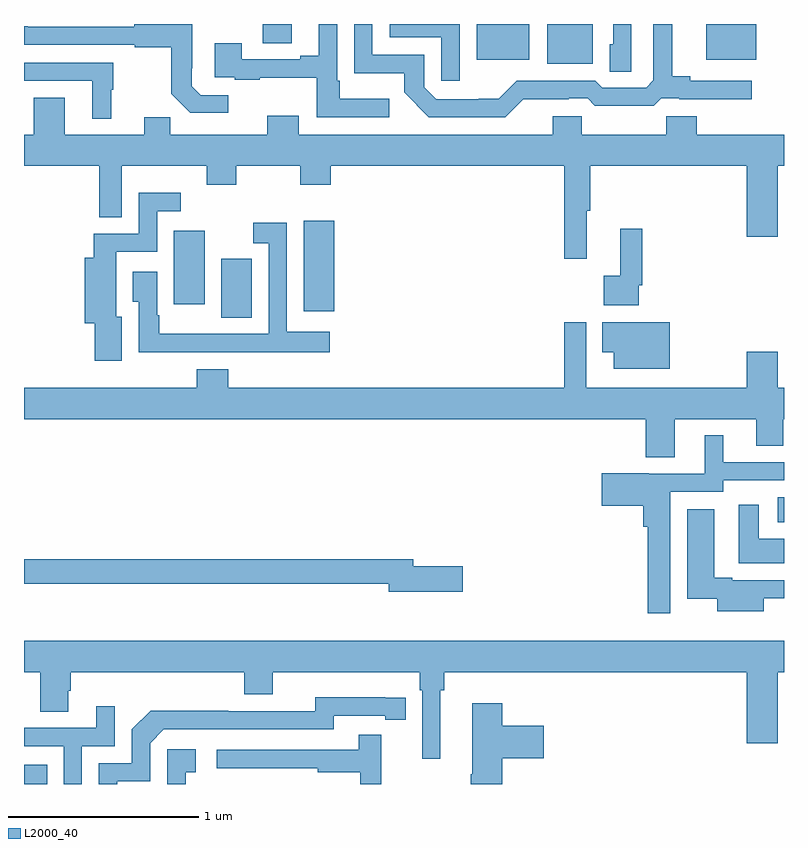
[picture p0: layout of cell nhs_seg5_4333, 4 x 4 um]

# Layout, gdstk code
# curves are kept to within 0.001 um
import gdstk
lib = gdstk.Library(unit=1e-6, precision=1e-09)
def R(c, l, rs):  # rectangles x0, y0, x1, y1
    for r in rs: c.add(gdstk.rectangle(r[:2], r[2:], *l))
def P(c, l, *ps):  # polygons
    for p in ps: c.add(gdstk.Polygon(p, *l))
L2000_40 = (2000, 40)

nhs_seg5_4333 = lib.new_cell('nhs_seg5_4333')
R(nhs_seg5_4333, L2000_40, [(365,894.799,365.123,894.9), (368.967,896.177,369,896.308), (366.038,897.253,366.199,897.564), (366.473,897.288,366.634,897.763), (365.789,897.323,365.95,897.712), (367.754,898.589,367.993,898.799), (367.382,898.61,367.66,898.799), (368.591,898.61,368.854,898.799), (366.257,898.699,366.409,898.799)])
P(nhs_seg5_4333, L2000_40, [(366.076,898.425),(365.931,898.425),(365.884,898.472),(365.884,898.567),(365.886,898.567),(365.886,898.799),(365.579,898.799),(365.579,898.785),(365,898.786),(365,898.689),(365.583,898.689),(365.583,898.677),(365.775,898.677),(365.775,898.431),(365.875,898.331),(366.076,898.331)],
  [(368.196,898.799),(368.1,898.799),(368.1,898.692),(368.084,898.692),(368.084,898.549),(368.196,898.549)],
  [(367.293,898.799),(366.924,898.799),(366.924,898.728),(367.197,898.728),(367.197,898.5),(367.293,898.5)],
  [(367.628,898.403),(367.868,898.403),(367.868,898.407),(367.968,898.407),(368.008,898.368),(368.315,898.368),(368.355,898.407),(368.449,898.407),(368.449,898.403),(368.83,898.403),(368.83,898.5),(368.506,898.5),(368.506,898.523),(368.411,898.523),(368.411,898.799),(368.313,898.799),(368.313,898.503),(368.274,898.464),(368.043,898.464),(368.007,898.5),(367.593,898.5),(367.499,898.406),(367.394,898.406),(367.394,898.404),(367.17,898.404),(367.107,898.467),(367.107,898.638),(366.834,898.638),(366.834,898.799),(366.738,898.799),(366.738,898.541),(367,898.541),(367,898.439),(367.13,898.308),(367.533,898.308)],
  [(366.922,898.405),(366.661,898.405),(366.661,898.501),(366.648,898.501),(366.648,898.799),(366.551,898.799),(366.551,898.633),(366.455,898.633),(366.455,898.614),(366.145,898.614),(366.145,898.699),(366.005,898.699),(366.005,898.518),(366.109,898.518),(366.109,898.506),(366.241,898.506),(366.241,898.517),(366.54,898.517),(366.54,898.308),(366.922,898.308)],
  [(365.458,898.452),(365.47,898.452),(365.47,898.596),(365,898.596),(365,898.5),(365.36,898.5),(365.36,898.301),(365.458,898.301)],
  [(365.633,898.307),(365.633,898.216),(365.215,898.216),(365.215,898.411),(365.051,898.411),(365.051,898.216),(365,898.216),(365,898.052),(365.397,898.052),(365.397,897.781),(365.515,897.781),(365.515,898.052),(365.962,898.052),(365.962,897.953),(366.117,897.953),(366.117,898.052),(366.454,898.052),(366.454,897.953),(366.614,897.953),(366.614,898.052),(367.843,898.052),(367.843,897.564),(367.961,897.564),(367.961,897.816),(367.979,897.816),(367.979,898.052),(368.804,898.052),(368.804,897.678),(368.968,897.678),(368.968,898.052),(369,898.052),(369,898.216),(368.54,898.216),(368.54,898.314),(368.38,898.314),(368.38,898.216),(367.935,898.216),(367.935,898.314),(367.784,898.314),(367.784,898.216),(366.445,898.216),(366.445,898.315),(366.281,898.315),(366.281,898.216),(365.771,898.216),(365.771,898.307)],
  [(365.515,897.259),(365.485,897.259),(365.485,897.6),(365.7,897.6),(365.7,897.813),(365.824,897.813),(365.824,897.91),(365.604,897.91),(365.604,897.696),(365.367,897.696),(365.367,897.568),(365.32,897.568),(365.32,897.224),(365.372,897.224),(365.372,897.027),(365.515,897.027)],
  [(365.825,897.072),(366.191,897.072),(366.191,897.071),(366.61,897.071),(366.61,897.178),(366.384,897.178),(366.384,897.754),(366.207,897.754),(366.207,897.645),(366.288,897.645),(366.288,897.168),(365.942,897.168),(365.942,897.169),(365.713,897.169),(365.713,897.265),(365.7,897.265),(365.7,897.496),(365.573,897.496),(365.573,897.337),(365.604,897.337),(365.604,897.071),(365.825,897.071)],
  [(368.235,897.424),(368.255,897.424),(368.255,897.721),(368.138,897.721),(368.138,897.473),(368.052,897.473),(368.052,897.32),(368.235,897.32)],
  [(368.398,897.229),(368.044,897.229),(368.044,897.071),(368.105,897.071),(368.105,896.984),(368.398,896.984)],
  [(368.968,897.073),(368.804,897.073),(368.804,896.884),(367.959,896.884),(367.959,897.229),(367.843,897.229),(367.843,896.884),(366.074,896.884),(366.074,896.983),(365.909,896.983),(365.909,896.884),(365,896.884),(365,896.72),(368.273,896.72),(368.273,896.519),(368.425,896.519),(368.425,896.72),(368.855,896.72),(368.855,896.578),(368.995,896.578),(368.995,896.72),(369,896.72),(369,896.884),(368.968,896.884)],
  [(368.4,896.337),(368.679,896.337),(368.679,896.397),(369,896.397),(369,896.493),(368.68,896.493),(368.68,896.635),(368.582,896.635),(368.582,896.433),(368.289,896.433),(368.289,896.434),(368.04,896.434),(368.04,896.264),(368.258,896.264),(368.258,896.153),(368.284,896.153),(368.284,895.698),(368.4,895.698)],
  [(369,896.089),(368.866,896.089),(368.866,896.269),(368.762,896.269),(368.762,895.961),(369,895.961)],
  [(368.893,895.776),(369,895.776),(369,895.872),(368.728,895.872),(368.728,895.885),(368.632,895.885),(368.632,896.245),(368.492,896.245),(368.492,895.774),(368.648,895.774),(368.648,895.709),(368.893,895.709)],
  [(367.309,895.946),(367.048,895.946),(367.048,895.982),(365,895.982),(365,895.854),(366.92,895.854),(366.92,895.811),(367.309,895.811)],
  [(367.192,895.292),(367.211,895.292),(367.211,895.388),(368.804,895.388),(368.804,895.014),(368.968,895.014),(368.968,895.388),(369,895.388),(369,895.552),(365,895.552),(365,895.388),(365.086,895.388),(365.086,895.18),(365.233,895.18),(365.233,895.29),(365.246,895.29),(365.246,895.388),(366.158,895.388),(366.158,895.271),(366.31,895.271),(366.31,895.388),(367.082,895.388),(367.082,895.292),(367.095,895.292),(367.095,894.933),(367.192,894.933)],
  [(365.491,894.813),(365.664,894.813),(365.664,895.014),(365.736,895.086),(366.63,895.086),(366.63,895.158),(366.902,895.158),(366.902,895.138),(367.01,895.138),(367.01,895.254),(366.534,895.255),(366.534,895.182),(366.074,895.182),(366.074,895.184),(365.666,895.184),(365.568,895.086),(365.568,894.909),(365.394,894.909),(365.394,894.799),(365.491,894.799)],
  [(367.517,894.935),(367.735,894.935),(367.735,895.105),(367.517,895.105),(367.517,895.225),(367.358,895.225),(367.358,894.851),(367.351,894.851),(367.351,894.799),(367.517,894.799)],
  [(365.304,894.999),(365.478,894.999),(365.478,895.207),(365.381,895.207),(365.381,895.095),(365,895.095),(365,894.999),(365.208,894.999),(365.208,894.799),(365.304,894.799)],
  [(366.881,895.057),(366.763,895.057),(366.763,894.978),(366.015,894.978),(366.015,894.882),(366.547,894.882),(366.547,894.862),(366.771,894.862),(366.771,894.799),(366.881,894.799)],
  [(365.852,894.861),(365.905,894.861),(365.905,894.982),(365.754,894.982),(365.754,894.799),(365.852,894.799)])

lib.write_gds('nhs_seg5_4333.gds')
